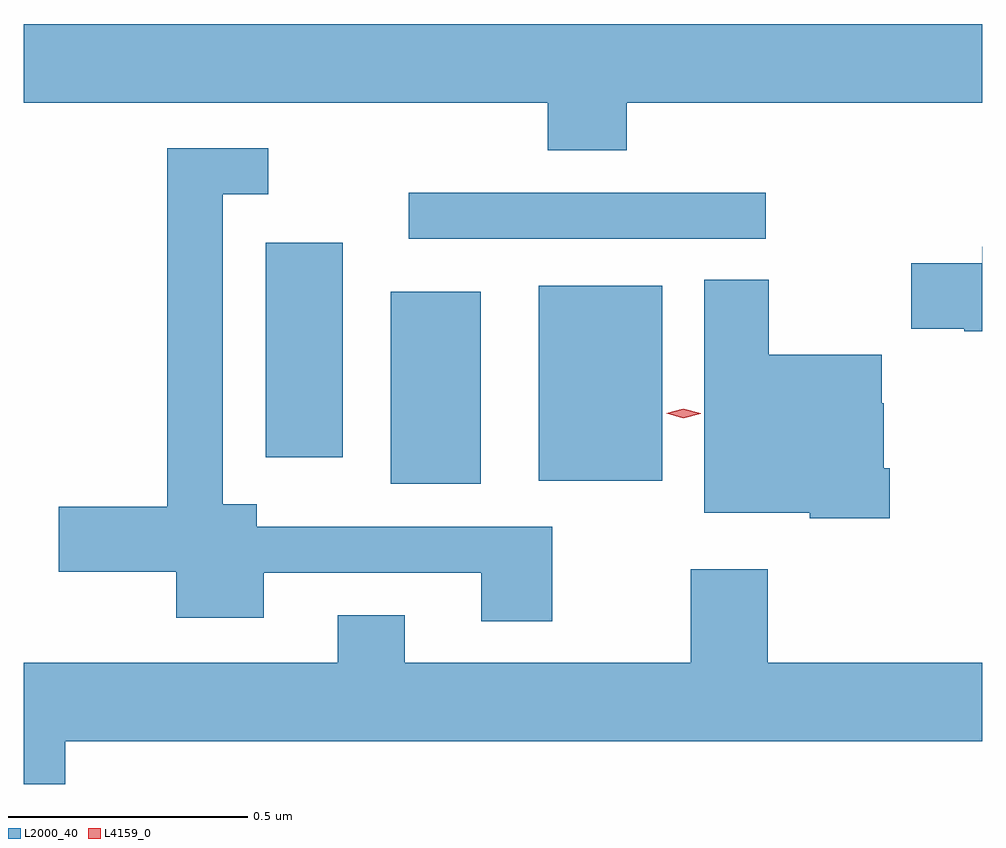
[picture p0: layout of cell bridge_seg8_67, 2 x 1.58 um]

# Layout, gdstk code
import gdstk
lib = gdstk.Library(unit=1e-6, precision=1e-09)
def R(c, l, rs):  # rectangles x0, y0, x1, y1
    for r in rs: c.add(gdstk.rectangle(r[:2], r[2:], *l))
def P(c, l, *ps):  # polygons
    for p in ps: c.add(gdstk.Polygon(p, *l))
L2000_40 = (2000, 40)
L4159_0 = (4159, 0)

bridge_seg8_67 = lib.new_cell('bridge_seg8_67')
R(bridge_seg8_67, L2000_40, [(948.578,1122.365,948.766,1122.766), (948.887,1122.371,949.144,1122.778), (948.317,1122.42,948.478,1122.868), (948.615,1122.876,949.36,1122.972)])
P(bridge_seg8_67, L2000_40, [(949.07,1123.16),(949.812,1123.16),(949.812,1123.324),(947.812,1123.324),(947.812,1123.16),(948.905,1123.16),(948.905,1123.061),(949.07,1123.061)],
  [(948.915,1122.276),(948.298,1122.276),(948.298,1122.322),(948.228,1122.322),(948.228,1122.969),(948.322,1122.969),(948.322,1123.065),(948.112,1123.065),(948.112,1122.317),(947.886,1122.317),(947.886,1122.182),(948.131,1122.182),(948.131,1122.086),(948.313,1122.086),(948.313,1122.18),(948.767,1122.18),(948.767,1122.078),(948.915,1122.078)],
  [(949.812,1122.859),(949.811,1122.859),(949.811,1122.825),(949.663,1122.825),(949.663,1122.688),(949.774,1122.688),(949.774,1122.683),(949.812,1122.683)],
  [(949.619,1122.397),(949.606,1122.397),(949.606,1122.533),(949.602,1122.533),(949.602,1122.634),(949.366,1122.634),(949.366,1122.791),(949.232,1122.791),(949.232,1122.305),(949.452,1122.305),(949.452,1122.293),(949.619,1122.293)],
  [(949.812,1121.992),(949.364,1121.992),(949.364,1122.187),(949.204,1122.187),(949.204,1121.992),(948.607,1121.992),(948.607,1122.091),(948.467,1122.091),(948.467,1121.992),(947.812,1121.992),(947.812,1121.739),(947.899,1121.739),(947.899,1121.828),(949.812,1121.828)])
P(bridge_seg8_67, L4159_0, [(949.188,1122.502),(949.152,1122.512),(949.151,1122.512),(949.152,1122.512),(949.188,1122.522),(949.224,1122.512),(949.224,1122.512),(949.224,1122.511)])

lib.write_gds('bridge_seg8_67.gds')
